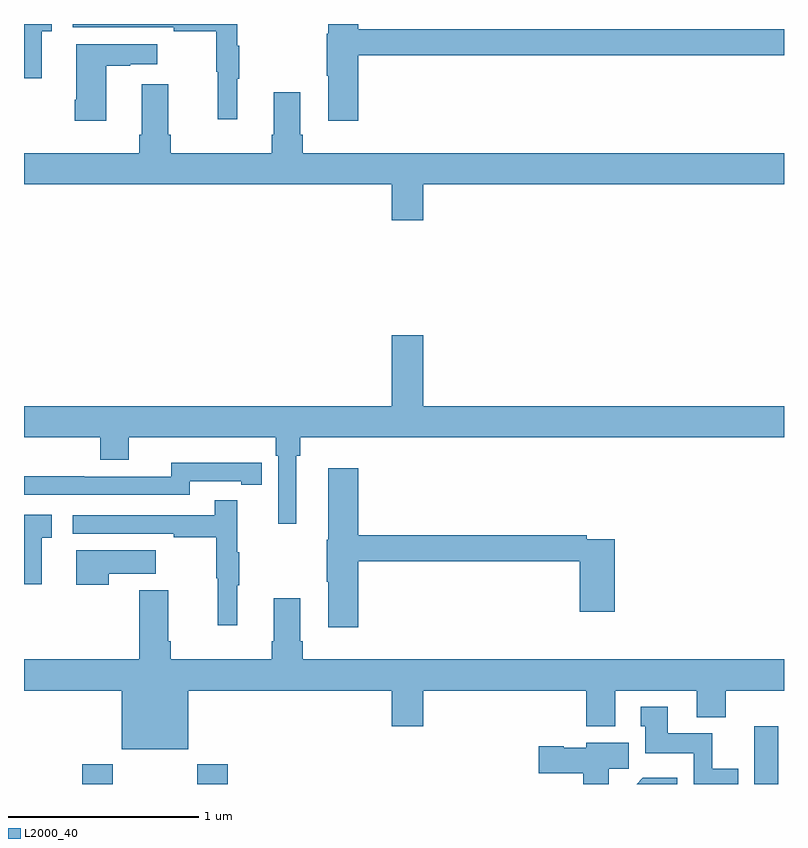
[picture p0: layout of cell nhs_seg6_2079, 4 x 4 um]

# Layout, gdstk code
import gdstk
lib = gdstk.Library(unit=1e-6, precision=1e-09)
def R(c, l, rs):  # rectangles x0, y0, x1, y1
    for r in rs: c.add(gdstk.rectangle(r[:2], r[2:], *l))
def P(c, l, *ps):  # polygons
    for p in ps: c.add(gdstk.Polygon(p, *l))
L2000_40 = (2000, 40)

nhs_seg6_2079 = lib.new_cell('nhs_seg6_2079')
R(nhs_seg6_2079, L2000_40, [(235.307,957.5,235.467,957.604), (235.912,957.5,236.072,957.604), (238.844,957.5,238.969,957.805)])
P(nhs_seg6_2079, L2000_40, [(235.094,961.461),(235.147,961.461),(235.147,961.5),(235,961.5),(235,961.215),(235.094,961.215)],
  [(236.759,961.336),(239,961.336),(239,961.472),(236.759,961.472),(236.759,961.5),(236.6,961.5),(236.6,961.449),(236.593,961.449),(236.593,961.228),(236.6,961.228),(236.6,960.99),(236.759,960.99)],
  [(236.123,961.211),(236.134,961.211),(236.134,961.385),(236.123,961.385),(236.123,961.5),(235.257,961.5),(235.257,961.482),(235.789,961.482),(235.789,961.462),(236.013,961.462),(236.013,961.248),(236.02,961.248),(236.02,960.999),(236.123,960.999)],
  [(235.432,961.279),(235.559,961.279),(235.559,961.289),(235.702,961.289),(235.702,961.393),(235.274,961.393),(235.274,961.102),(235.267,961.102),(235.267,960.99),(235.432,960.99)],
  [(237.1,960.656),(239,960.656),(239,960.82),(236.468,960.82),(236.468,960.916),(236.455,960.916),(236.455,961.141),(236.315,961.141),(236.315,960.916),(236.303,960.916),(236.303,960.82),(235.772,960.82),(235.772,960.916),(235.759,960.916),(235.759,961.183),(235.619,961.183),(235.619,960.916),(235.607,960.916),(235.607,960.82),(235,960.82),(235,960.656),(236.936,960.656),(236.936,960.468),(237.1,960.468)],
  [(236.434,959.228),(236.453,959.228),(236.453,959.324),(239,959.324),(239,959.488),(237.1,959.488),(237.1,959.863),(236.936,959.863),(236.936,959.488),(235,959.488),(235,959.324),(235.4,959.324),(235.4,959.207),(235.552,959.207),(235.552,959.324),(236.324,959.324),(236.324,959.228),(236.337,959.228),(236.337,958.869),(236.434,958.869)],
  [(235.872,959.094),(236.144,959.094),(236.144,959.074),(236.252,959.074),(236.252,959.19),(236.144,959.19),(236.144,959.191),(235.776,959.191),(235.776,959.118),(235.316,959.118),(235.316,959.12),(235,959.12),(235,959.022),(235.872,959.022)],
  [(236.759,958.672),(237.926,958.672),(237.926,958.407),(238.109,958.407),(238.109,958.788),(237.962,958.788),(237.962,958.808),(236.759,958.808),(236.759,959.161),(236.6,959.161),(236.6,958.785),(236.593,958.785),(236.593,958.564),(236.6,958.564),(236.6,958.326),(236.759,958.326)],
  [(236.123,958.547),(236.134,958.547),(236.134,958.721),(236.123,958.721),(236.123,958.993),(236.005,958.993),(236.005,958.914),(235.257,958.914),(235.257,958.818),(235.789,958.818),(235.789,958.798),(236.013,958.798),(236.013,958.584),(236.02,958.584),(236.02,958.335),(236.123,958.335)],
  [(235.094,958.797),(235.147,958.797),(235.147,958.918),(235,958.918),(235,958.551),(235.094,958.551)],
  [(235.445,958.607),(235.693,958.607),(235.693,958.729),(235.274,958.729),(235.274,958.548),(235.445,958.548)],
  [(235.864,957.992),(236.936,957.992),(236.936,957.804),(237.1,957.804),(237.1,957.992),(237.959,957.992),(237.959,957.803),(238.111,957.803),(238.111,957.992),(238.541,957.992),(238.541,957.851),(238.694,957.851),(238.694,957.992),(239,957.992),(239,958.156),(236.468,958.156),(236.468,958.252),(236.455,958.252),(236.455,958.477),(236.315,958.477),(236.315,958.252),(236.303,958.252),(236.303,958.156),(235.772,958.156),(235.772,958.252),(235.759,958.252),(235.759,958.519),(235.607,958.519),(235.607,958.156),(235,958.156),(235,957.992),(235.514,957.992),(235.514,957.683),(235.864,957.683)],
  [(238.759,957.58),(238.623,957.58),(238.623,957.766),(238.387,957.766),(238.387,957.907),(238.247,957.907),(238.247,957.804),(238.271,957.804),(238.271,957.662),(238.524,957.662),(238.524,957.5),(238.759,957.5)],
  [(238.078,957.58),(238.183,957.58),(238.183,957.718),(237.96,957.718),(237.96,957.691),(237.84,957.691),(237.84,957.699),(237.708,957.699),(237.708,957.557),(237.944,957.557),(237.944,957.5),(238.078,957.5)],
  [(238.439,957.532),(238.256,957.532),(238.224,957.5),(238.439,957.5)])

lib.write_gds('nhs_seg6_2079.gds')
